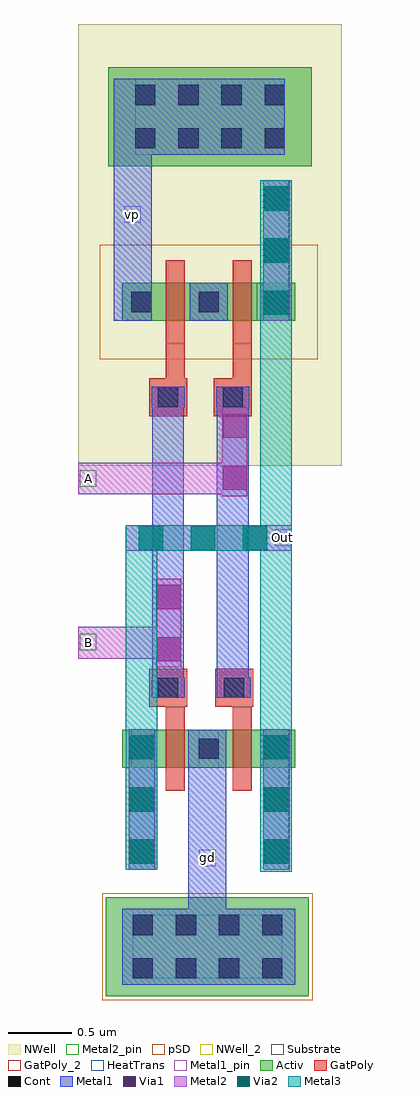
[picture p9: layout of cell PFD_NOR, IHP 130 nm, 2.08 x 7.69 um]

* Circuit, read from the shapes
.subckt PFD_NOR A B Out gd vp
XM1 gd B Out gd sg13_lv_nmos w=0.3u l=0.15u
XM2 Out A gd gd sg13_lv_nmos w=0.3u l=0.15u
XM3 n1 B vp vp sg13_lv_pmos w=0.3u l=0.15u
XM4 Out A n1 vp sg13_lv_pmos w=0.3u l=0.15u
.ends

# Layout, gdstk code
import gdstk
lib = gdstk.Library(unit=1e-6, precision=1e-09)
def R(c, l, rs):  # rectangles x0, y0, x1, y1
    for r in rs: c.add(gdstk.rectangle(r[:2], r[2:], *l))
def A(c, l, x, y, w, h, nx, ny, dx, dy):  # array of equal rectangles
    R(c, l, [(x+i*dx, y+j*dy, x+i*dx+w, y+j*dy+h) for i in range(nx) for j in range(ny)])
Activ = (1, 0)
GatPoly = (5, 0)
GatPoly_2 = (5, 2)
Cont = (6, 0)
Metal1 = (8, 0)
Metal1_pin = (8, 2)
Metal2 = (10, 0)
Metal2_pin = (10, 2)
pSD = (14, 0)
Via1 = (19, 0)
Via2 = (29, 0)
Metal3 = (30, 0)
NWell = (31, 0)
NWell_2 = (31, 2)
Substrate = (40, 0)
HeatTrans = (51, 0)

pmos = lib.new_cell('pmos')
R(pmos, Activ, [(0,0,0.3,0.3), (0,0,0.83,0.3), (0.53,0,0.83,0.3)])
R(pmos, GatPoly, [(0.34,-0.18,0.49,0.48), (0.34,-0.18,0.49,0.48)])
R(pmos, Cont, [(0.07,0.07,0.23,0.23), (0.6,0.07,0.76,0.23)])
R(pmos, Metal1, [(0.07,0,0.23,0.3), (0.07,0,0.23,0.3), (0.6,0,0.76,0.3), (0.6,0,0.76,0.3)])
R(pmos, pSD, [(-0.18,-0.3,1.01,0.6)])
R(pmos, NWell, [(-0.31,-0.31,1.14,0.61)])
R(pmos, Substrate, [(0.53,0,0.83,0.3)])
R(pmos, HeatTrans, [(0.34,-0.18,0.49,0.48)])
pmos.add(gdstk.Label('pmos', (0.415,0.15), layer=63, texttype=0))
pmos.add(gdstk.Label('pmos', (0.415,0.15), layer=51, texttype=0))

ntap1 = lib.new_cell('ntap1')
R(ntap1, Activ, [(0,0,1.6,0.78)])
A(ntap1, Cont, 0.21, 0.14, 0.16, 0.16, 4, 2, 0.34, 0.34)
R(ntap1, Metal1, [(0.21,0.09,1.39,0.69)])
R(ntap1, Metal1_pin, [(0.21,0.09,1.39,0.69), (0.21,0.14,1.39,0.64)])
R(ntap1, NWell, [(-0.24,-0.24,1.84,1.02), (0,0,1.6,0.78)])
R(ntap1, NWell_2, [(0,0,1.6,0.78)])
ntap1.add(gdstk.Label('well', (0.8,0.01), layer=63, texttype=0))
ntap1.add(gdstk.Label('well', (0.8,0.01), layer=31, texttype=0))

via_5 = lib.new_cell('Via$5')
R(via_5, GatPoly, [(-0.15,-0.15,0.15,0.15)])
R(via_5, Cont, [(-0.08,-0.08,0.08,0.08)])
R(via_5, Metal1, [(-0.13,-0.08,0.13,0.08)])

via_6 = lib.new_cell('Via$6')
R(via_6, Metal1, [(-0.105,-0.35,0.105,0.35)])
R(via_6, Metal2, [(-0.1,-0.35,0.1,0.35)])
R(via_6, Via1, [(-0.095,-0.3,0.095,-0.11), (-0.095,0.11,0.095,0.3)])

ptap1 = lib.new_cell('ptap1')
R(ptap1, Activ, [(0,0,1.6,0.78)])
A(ptap1, Cont, 0.21, 0.14, 0.16, 0.16, 4, 2, 0.34, 0.34)
R(ptap1, Metal1, [(0.21,0.09,1.39,0.69), (0.21,0.14,1.39,0.64)])
R(ptap1, Metal1_pin, [(0.21,0.14,1.39,0.64)])
R(ptap1, pSD, [(-0.03,-0.03,1.63,0.81)])
R(ptap1, Substrate, [(0,0,1.6,0.78)])
ptap1.add(gdstk.Label('sub!', (0.8,0.01), layer=63, texttype=0))
ptap1.add(gdstk.Label('sub!', (0.8,0.01), layer=40, texttype=0))

nmos = lib.new_cell('nmos')
R(nmos, Activ, [(0,0,0.3,0.3), (0,0,0.83,0.3), (0.53,0,0.83,0.3)])
R(nmos, GatPoly, [(0.34,-0.18,0.49,0.48)])
R(nmos, GatPoly_2, [(0.34,-0.18,0.49,0.48)])
R(nmos, Cont, [(0.07,0.07,0.23,0.23), (0.6,0.07,0.76,0.23)])
R(nmos, Metal1, [(0.07,0,0.23,0.3), (0.6,0,0.76,0.3)])
R(nmos, Metal1_pin, [(0.07,0,0.23,0.3), (0.6,0,0.76,0.3)])
R(nmos, HeatTrans, [(0.34,-0.18,0.49,0.48)])
nmos.add(gdstk.Label('nmos', (0.415,0.15), layer=63, texttype=0))
nmos.add(gdstk.Label('nmos', (0.415,0.15), layer=51, texttype=0))

via = lib.new_cell('Via')
R(via, Metal2, [(-0.1,-0.555,0.1,0.555)])
A(via, Via2, -0.095, -0.505, 0.19, 0.19, 1, 3, 0, 0.41)
R(via, Metal3, [(-0.1,-0.555,0.1,0.555)])

via_1 = lib.new_cell('Via$1')
R(via_1, Metal1, [(-0.105,-0.555,0.105,0.555)])
R(via_1, Metal2, [(-0.1,-0.555,0.1,0.555)])
A(via_1, Via1, -0.095, -0.505, 0.19, 0.19, 1, 3, 0, 0.41)

via_7 = lib.new_cell('Via$7')
R(via_7, Metal2, [(-0.555,-0.1,0.555,0.1)])
A(via_7, Via2, -0.505, -0.095, 0.19, 0.19, 3, 1, 0.41, 0)
R(via_7, Metal3, [(-0.555,-0.1,0.555,0.1)])

pfd_nor = lib.new_cell('PFD_NOR')
R(pfd_nor, GatPoly, [(0.53,0.13,0.68,0.41), (0,0.14,0.15,0.41)])
R(pfd_nor, Metal1, [(-0.34,-4.64,1.02,-4.04), (0.19,0.59,0.49,0.89)])
R(pfd_nor, Metal1_pin, [(0.265,-3.705,0.395,-3.575), (-0.325,1.365,-0.195,1.495)])
R(pfd_nor, Metal2_pin, [(-0.675,-2.005,-0.545,-1.875), (0.86,-1.18,0.99,-1.05), (-0.675,-0.715,-0.545,-0.585)])
R(pfd_nor, Metal3, [(-0.315,-1.06,-0.26,-1.02)])
R(pfd_nor, NWell, [(-0.69,-0.55,1.39,2.93)])
pfd_nor.add(gdstk.FlexPath([(-0.315,-1.12),(0.995,-1.12)], 0.2, ends="flush", simple_path=True, layer=10, datatype=0))  # Metal2
pfd_nor.add(gdstk.FlexPath([(0.64,-0.65),(-0.69,-0.65)], 0.25, ends="flush", simple_path=True, layer=10, datatype=0))  # Metal2
pfd_nor.add(gdstk.FlexPath([(0.125,-1.945),(-0.69,-1.945)], 0.25, ends="flush", simple_path=True, layer=10, datatype=0))  # Metal2
pfd_nor.add(gdstk.FlexPath([(-0.19,-3.735),(-0.19,-1.06)], 0.25, ends="flush", simple_path=True, layer=30, datatype=0))  # Metal3
pfd_nor.add(gdstk.FlexPath([(0.87,1.7),(0.87,-3.75)], 0.25, ends="flush", simple_path=True, layer=30, datatype=0))  # Metal3
pfd_nor.add(gdstk.FlexPath([(-0.26,0.59),(-0.26,2.5)], 0.3, ends="flush", simple_path=True, layer=8, datatype=0))  # Metal1
pfd_nor.add(gdstk.FlexPath([(0.02,0.07),(0.02,-2.38)], 0.25, ends="flush", simple_path=True, layer=8, datatype=0))  # Metal1
pfd_nor.add(gdstk.FlexPath([(0.53,0.07),(0.53,-2.38)], 0.25, ends="flush", simple_path=True, layer=8, datatype=0))  # Metal1
pfd_nor.add(gdstk.FlexPath([(0.33,-2.63),(0.33,-4.04)], 0.3, ends="flush", simple_path=True, layer=8, datatype=0))  # Metal1
pfd_nor.add(gdstk.Reference(pmos, (-0.34,0.59)))
pfd_nor.add(gdstk.Reference(pmos, (0.19,0.59)))
pfd_nor.add(gdstk.Reference(ntap1, (-0.45,1.81)))
pfd_nor.add(gdstk.Reference(via_5, (0.02,-0.01)))
pfd_nor.add(gdstk.Reference(via_5, (0.53,-0.01)))
pfd_nor.add(gdstk.Reference(via_5, (0.02,-2.3)))
pfd_nor.add(gdstk.Reference(via_5, (0.54,-2.3)))
pfd_nor.add(gdstk.Reference(via_6, (0.025,-1.79)))
pfd_nor.add(gdstk.Reference(via_6, (0.545,-0.44)))
pfd_nor.add(gdstk.Reference(ptap1, (-0.47,-4.73)))
pfd_nor.add(gdstk.Reference(nmos, (-0.34,-2.93)))
pfd_nor.add(gdstk.Reference(nmos, (0.19,-2.93)))
pfd_nor.add(gdstk.Reference(via, (0.87,1.145)))
pfd_nor.add(gdstk.Reference(via_1, (0.875,1.145)))
pfd_nor.add(gdstk.Reference(via, (0.87,-3.18)))
pfd_nor.add(gdstk.Reference(via_1, (0.875,-3.18)))
pfd_nor.add(gdstk.Reference(via, (-0.19,-3.18)))
pfd_nor.add(gdstk.Reference(via_1, (-0.185,-3.18)))
pfd_nor.add(gdstk.Reference(via_7, (0.295,-1.12)))
pfd_nor.add(gdstk.Label('Out', (0.925,-1.115), layer=10, texttype=25))
pfd_nor.add(gdstk.Label('A', (-0.61,-0.65), layer=10, texttype=25))
pfd_nor.add(gdstk.Label('B', (-0.61,-1.94), layer=10, texttype=25))
pfd_nor.add(gdstk.Label('gd', (0.33,-3.64), layer=8, texttype=25))
pfd_nor.add(gdstk.Label('vp', (-0.26,1.43), layer=8, texttype=25))

lib.write_gds('PFD_NOR.gds')
